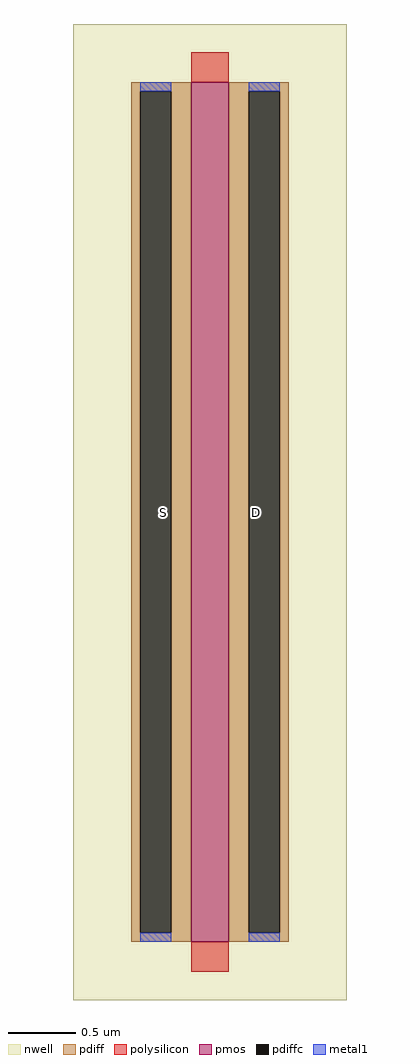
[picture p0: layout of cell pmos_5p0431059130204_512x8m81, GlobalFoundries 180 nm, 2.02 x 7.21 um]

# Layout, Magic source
magic
tech gf180mcuD
magscale 1 10
<< nwell >>
rect -174 -86 230 1356
<< pmos >>
rect 0 0 56 1270
<< pdiff >>
rect -88 1257 0 1270
rect -88 13 -75 1257
rect -29 13 0 1257
rect -88 0 0 13
rect 56 1257 144 1270
rect 56 13 85 1257
rect 131 13 144 1257
rect 56 0 144 13
<< pdiffc >>
rect -75 13 -29 1257
rect 85 13 131 1257
<< polysilicon >>
rect 0 1270 56 1314
rect 0 -44 56 0
<< metal1 >>
rect -75 1257 -29 1270
rect -75 0 -29 13
rect 85 1257 131 1270
rect 85 0 131 13
<< labels >>
flabel pdiffc -40 635 -40 635 0 FreeSans 186 0 0 0 S
flabel pdiffc 96 635 96 635 0 FreeSans 186 0 0 0 D
<< end >>
